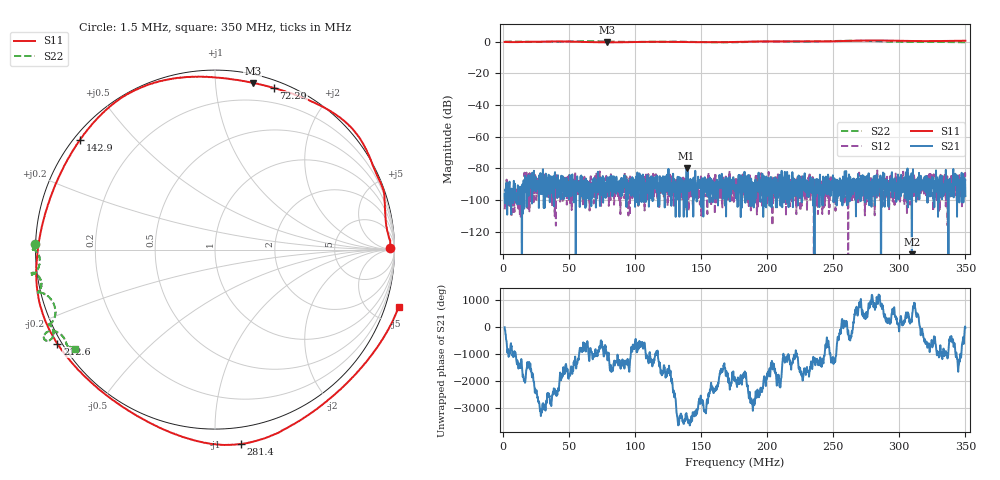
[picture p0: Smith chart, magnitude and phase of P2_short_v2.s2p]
# Hz S RI R 50
! RAW DATA - UNCALIBRATED
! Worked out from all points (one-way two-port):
!   1601 points, 1.5 MHz to 350 MHz, reference 50 ohm
!   highest |S21| = -79.85 dB at 139.2 MHz (marker M1); lowest = -186.2 dB at 309.5 MHz (marker M2)
!   lowest |S11| = -0.4 dB at 78.82 MHz (marker M3), VSWR 40.47, Z = 3.17 + j62.5 ohm
!   |S11| at or under -10 dB: nowhere
!   |S22| runs from -0.5 to 0.6 dB; largest |S21 - S12| = 0.00014
!   S11 on the Smith chart (normalised r, x): 1.5 MHz: 78, +28; 72.29 MHz: 0.06, +1.43; 142.9 MHz: 0.02, +0.36; 212.6 MHz: -0.01, -0.28; 281.4 MHz: -0.10, -1.14; 350 MHz: -1.45, -6.22
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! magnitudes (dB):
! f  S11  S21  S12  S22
! 1.5 MHz  -0.2  -96.4  -105.9  0.0
! 8.688 MHz  -0.3  -90.2  -100.6  0.1
! 31.34 MHz  0.0  -90.7  -97.2  -0.2
! 43.97 MHz  0.2  -99.6  -92.9  0.0
! 59.66 MHz  -0.1  -97.5  -93.8  0.3
! 72.29 MHz  -0.4  -85.2  -88.3  0.2
! 78.82 MHz  -0.4  -92.9  -90.7  0.1
! 97.99 MHz  -0.2  -85.6  -100.1  -0.1
! 117.8 MHz  -0.1  -92.4  -97.0  0.0
! 139.2 MHz  -0.2  -79.8  -91.8  0.0
! 142.9 MHz  -0.3  -87.5  -90.0  -0.1
! 162.2 MHz  -0.3  -94.5  -95.7  -0.4
! 175.8 MHz  -0.2  -93.3  -92.7  -0.4
! 198.2 MHz  0.2  -103.7  -87.0  0.1
! 212.6 MHz  0.2  -87.0  -87.0  0.1
! 233.9 MHz  0.1  -87.6  -92.1  0.1
! 262.9 MHz  0.5  -85.6  -90.2  0.6
! 281.4 MHz  0.8  -100.8  -109.7  0.3
! 292.1 MHz  0.7  -90.3  -89.3  0.0
! 309.5 MHz  0.4  -186.2  -85.7  -0.2
! 331.7 MHz  0.4  -85.2  -92.9  -0.2
! 350 MHz  0.6  -97.6  -87.7  -0.4
